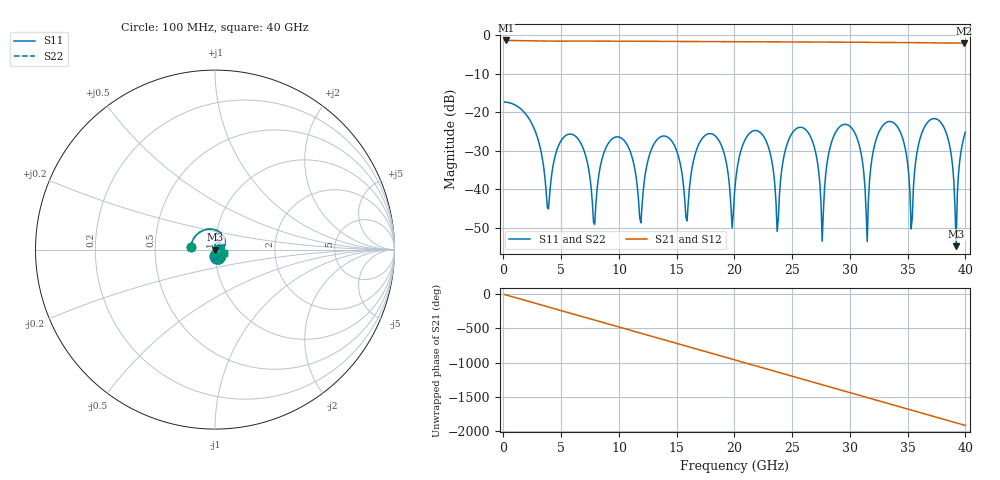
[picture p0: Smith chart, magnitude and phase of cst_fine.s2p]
! T_ts6_sl_20: Stripline In2, ThunderScope stack, w 0.183 mm, 20 mm
! stackup: ThunderScope Rev5.3 6-layer (FR408HR / FR-4, from the board file)
! ports: 1 near A, 2 far A
! CST Studio Suite 2025.5 Release from 2025-05-30, time domain (FIT, hexahedral, PBA), 376992 mesh cells, 52 s
! mesh: {'lpw': 30.0, 'lpb': 30.0, 'minstep': 0.0, 'ratio': 20}; ports: port 1 (face); port 2 (face)
! interpolated from CST's 1001 samples to the case grid
# Hz S RI R 50
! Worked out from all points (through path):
!   400 points, 100 MHz to 40 GHz, reference 50 ohm
!   highest |S21| = -1.32 dB at 200 MHz (marker M1); lowest = -2.0 dB at 39.9 GHz (marker M2)
!   group delay of S21, straight-line fit = 133 ps
!   lowest |S11| = -54.7 dB at 39.2 GHz (marker M3), VSWR 1.00, Z = 50.2 - j0.0584 ohm
!   |S11| at or under -10 dB: start of sweep to end of sweep
!   |S22| runs from -54.7 to -17.3 dB; largest |S21 - S12| = 4.3e-07
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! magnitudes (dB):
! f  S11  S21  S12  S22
! 100 MHz  -17.3  -1.3  -1.3  -17.3
! 200 MHz  -17.3  -1.3  -1.3  -17.3
! 3.9 GHz  -45.1  -1.5  -1.5  -45.1
! 6.8 GHz  -28.6  -1.5  -1.5  -28.6
! 11.9 GHz  -48.7  -1.5  -1.5  -48.7
! 13.4 GHz  -26.8  -1.5  -1.5  -26.8
! 15.9 GHz  -48.2  -1.6  -1.6  -48.2
! 17.4 GHz  -26.1  -1.6  -1.6  -26.1
! 20.1 GHz  -37.8  -1.6  -1.6  -37.8
! 22.4 GHz  -25.7  -1.7  -1.7  -25.7
! 23.7 GHz  -50.9  -1.7  -1.7  -50.9
! 26.7 GHz  -27.1  -1.7  -1.7  -27.1
! 27.6 GHz  -53.5  -1.7  -1.7  -53.5
! 28.4 GHz  -27.8  -1.7  -1.7  -27.8
! 30.4 GHz  -25.2  -1.8  -1.8  -25.2
! 31.5 GHz  -53.5  -1.8  -1.8  -53.5
! 33.4 GHz  -22.4  -1.9  -1.9  -22.4
! 35.3 GHz  -50.3  -1.9  -1.9  -50.3
! 38.1 GHz  -23.7  -2.0  -2.0  -23.7
! 39.2 GHz  -54.7  -2.0  -2.0  -54.7
! 39.9 GHz  -26.2  -2.0  -2.0  -26.2
! 40 GHz  -25.2  -2.0  -2.0  -25.2
